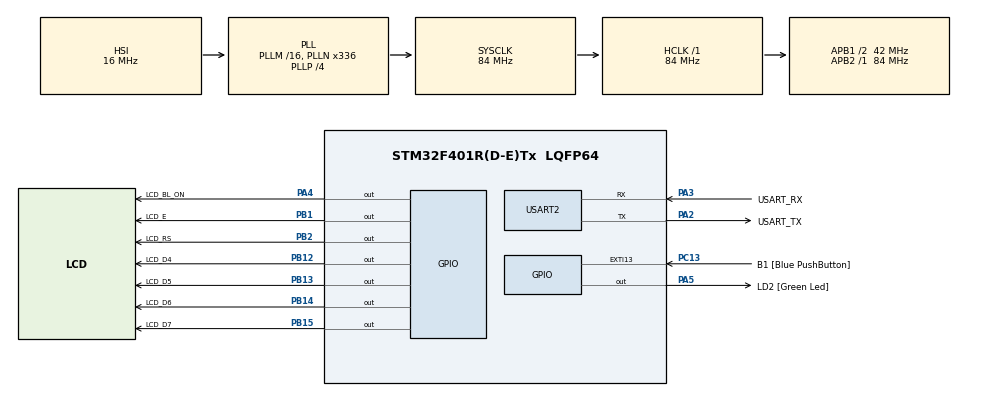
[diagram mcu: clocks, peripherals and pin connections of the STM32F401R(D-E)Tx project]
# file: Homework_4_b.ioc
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Mcu.Family=STM32F4
Mcu.Name=STM32F401R(D-E)Tx
Mcu.Package=LQFP64
NVIC.PriorityGroup=NVIC_PRIORITYGROUP_0
PA13.GPIO_Label=TMS
PA13.Mode=Serial_Wire
PA13.Signal=SYS_JTMS-SWDIO
PA14.GPIO_Label=TCK
PA14.Mode=Serial_Wire
PA14.Signal=SYS_JTCK-SWCLK
PA2.GPIO_Label=USART_TX
PA2.GPIO_Mode=GPIO_MODE_AF_PP
PA2.GPIO_PuPd=GPIO_NOPULL
PA2.GPIO_Speed=GPIO_SPEED_FREQ_LOW
PA2.Mode=Asynchronous
PA2.Signal=USART2_TX
PA3.GPIO_Label=USART_RX
PA3.GPIO_Mode=GPIO_MODE_AF_PP
PA3.GPIO_PuPd=GPIO_NOPULL
PA3.GPIO_Speed=GPIO_SPEED_FREQ_LOW
PA3.Mode=Asynchronous
PA3.Signal=USART2_RX
PA4.GPIO_Label=LCD_BL_ON
PA4.Signal=GPIO_Output
PA5.GPIO_Label=LD2 [Green Led]
PA5.GPIO_Mode=GPIO_MODE_OUTPUT_PP
PA5.GPIO_PuPd=GPIO_NOPULL
PA5.GPIO_Speed=GPIO_SPEED_FREQ_LOW
PA5.Signal=GPIO_Output
PB1.GPIO_Label=LCD_E
PB1.Signal=GPIO_Output
PB12.GPIO_Label=LCD_D4
PB12.Signal=GPIO_Output
PB13.GPIO_Label=LCD_D5
PB13.Signal=GPIO_Output
PB14.GPIO_Label=LCD_D6
PB14.Signal=GPIO_Output
PB15.GPIO_Label=LCD_D7
PB15.Signal=GPIO_Output
PB2.GPIO_Label=LCD_RS
PB2.Signal=GPIO_Output
PB3.GPIO_Label=SWO
PB3.Signal=SYS_JTDO-SWO
PC13-ANTI_TAMP.GPIO_Label=B1 [Blue PushButton]
PC13-ANTI_TAMP.GPIO_ModeDefaultEXTI=GPIO_MODE_IT_FALLING
PC13-ANTI_TAMP.GPIO_PuPd=GPIO_NOPULL
PC13-ANTI_TAMP.Signal=GPXTI13
PC14-OSC32_IN.Mode=LSE-External-Oscillator
PC14-OSC32_IN.Signal=RCC_OSC32_IN
PC15-OSC32_OUT.Mode=LSE-External-Oscillator
PC15-OSC32_OUT.Signal=RCC_OSC32_OUT
PH0\ -\ OSC_IN.Mode=HSE-External-Clock-Source
PH0\ -\ OSC_IN.Signal=RCC_OSC_IN
PH1\ -\ OSC_OUT.Mode=HSE-External-Clock-Source
PH1\ -\ OSC_OUT.Signal=RCC_OSC_OUT
ProjectManager.HeapSize=0x200
ProjectManager.StackSize=0x400
ProjectManager.TargetToolchain=STM32CubeIDE
RCC.48MHZClocksFreq_Value=48000000
RCC.AHBFreq_Value=84000000
RCC.APB1CLKDivider=RCC_HCLK_DIV2
RCC.APB1Freq_Value=42000000
RCC.APB1TimFreq_Value=84000000
RCC.APB2Freq_Value=84000000
RCC.APB2TimFreq_Value=84000000
RCC.CortexFreq_Value=84000000
RCC.HCLKFreq_Value=84000000
RCC.HSE_VALUE=8000000
RCC.HSI_VALUE=16000000
RCC.PLLN=336
RCC.PLLP=RCC_PLLP_DIV4
RCC.PLLQ=7
RCC.SYSCLKFreq_VALUE=84000000
RCC.SYSCLKSource=RCC_SYSCLKSOURCE_PLLCLK
RCC.VCOOutputFreq_Value=336000000
USART2.VirtualMode=VM_ASYNC
board=NUCLEO-F401RE

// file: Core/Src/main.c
/* USER CODE BEGIN Header */
/**
  ******************************************************************************
  * @file           : main.c
  * @brief          : Main program body
  ******************************************************************************
  * @attention
  *
  * Copyright (c) 2024 STMicroelectronics.
  * All rights reserved.
  *
  * This software is licensed under terms that can be found in the LICENSE file
  * in the root directory of this software component.
  * If no LICENSE file comes with this software, it is provided AS-IS.
  *
  ******************************************************************************
  */
/* USER CODE END Header */
#include "main.h"

/* USER CODE BEGIN Includes */
#include "PMDB16_LCD.h"
/* USER CODE END Includes */

/* USER CODE BEGIN PD */
#define MAX_LENGTH 	15
#define MAX_MEMBERS 5
#define TOP_ROW 	0
#define BOTTOM_ROW 	1
/* USER CODE END PD */

UART_HandleTypeDef huart2;

void SystemClock_Config(void);
static void MX_GPIO_Init(void);
static void MX_USART2_UART_Init(void);

int main(void)
{

  /* MCU Configuration--------------------------------------------------------*/

  /* Reset of all peripherals, Initializes the Flash interface and the Systick. */
  HAL_Init();

  /* Configure the system clock */
  SystemClock_Config();

  /* Initialize all configured peripherals */
  MX_GPIO_Init();
  MX_USART2_UART_Init();
  /* USER CODE BEGIN 2 */

  char string[MAX_MEMBERS][MAX_LENGTH] = {
		  "A.Paliferro",
		  "C.Coppers",
		  "H.Leveelahti",
		  "N.Cazin",
		  "O.Kieksi"
  };

  lcd_initialize(); // Initialize the LCD controller
  lcd_backlight_ON(); // Turn ON the LCD backlight

  int first_apparition = 0; // Blocking flag only for the first writing
  /* USER CODE END 2 */

  /* Infinite loop */
  /* USER CODE BEGIN WHILE */
  while (1)
  {
	  for(int i = 0; i < MAX_MEMBERS; i++)			// For every members of the group
	  {
		  lcd_println(string[i], BOTTOM_ROW);		// Always print the members ont he bottum row
		  if (i != 0 || i != MAX_MEMBERS - 1)		// If not the first members and not the last members
		  {
			  lcd_println(string[i-1], TOP_ROW);	// Print the members on top ROW
		  }
		  if (i == 0 && first_apparition == 1)		// For when the first and the last members appears
		  {
			  lcd_println(string[MAX_MEMBERS - 1], TOP_ROW);
		  }
		  first_apparition = 1;						// Flag raised only at the first writting on the LCD
		  HAL_Delay(1000);							// 1s
	  }
    /* USER CODE END WHILE */

  }
}

void SystemClock_Config(void)
{
  RCC_OscInitTypeDef RCC_OscInitStruct = {0};
  RCC_ClkInitTypeDef RCC_ClkInitStruct = {0};

  /** Configure the main internal regulator output voltage
  */
  __HAL_RCC_PWR_CLK_ENABLE();
  __HAL_PWR_VOLTAGESCALING_CONFIG(PWR_REGULATOR_VOLTAGE_SCALE2);

  /** Initializes the RCC Oscillators according to the specified parameters
  * in the RCC_OscInitTypeDef structure.
  */
  RCC_OscInitStruct.OscillatorType = RCC_OSCILLATORTYPE_HSI;
  RCC_OscInitStruct.HSIState = RCC_HSI_ON;
  RCC_OscInitStruct.HSICalibrationValue = RCC_HSICALIBRATION_DEFAULT;
  RCC_OscInitStruct.PLL.PLLState = RCC_PLL_ON;
  RCC_OscInitStruct.PLL.PLLSource = RCC_PLLSOURCE_HSI;
  RCC_OscInitStruct.PLL.PLLM = 16;
  RCC_OscInitStruct.PLL.PLLN = 336;
  RCC_OscInitStruct.PLL.PLLP = RCC_PLLP_DIV4;
  RCC_OscInitStruct.PLL.PLLQ = 7;
  if (HAL_RCC_OscConfig(&RCC_OscInitStruct) != HAL_OK)
  {
    Error_Handler();
  }

  /** Initializes the CPU, AHB and APB buses clocks
  */
  RCC_ClkInitStruct.ClockType = RCC_CLOCKTYPE_HCLK|RCC_CLOCKTYPE_SYSCLK
                              |RCC_CLOCKTYPE_PCLK1|RCC_CLOCKTYPE_PCLK2;
  RCC_ClkInitStruct.SYSCLKSource = RCC_SYSCLKSOURCE_PLLCLK;
  RCC_ClkInitStruct.AHBCLKDivider = RCC_SYSCLK_DIV1;
  RCC_ClkInitStruct.APB1CLKDivider = RCC_HCLK_DIV2;
  RCC_ClkInitStruct.APB2CLKDivider = RCC_HCLK_DIV1;

  if (HAL_RCC_ClockConfig(&RCC_ClkInitStruct, FLASH_LATENCY_2) != HAL_OK)
  {
    Error_Handler();
  }
}

static void MX_USART2_UART_Init(void)
{

  huart2.Instance = USART2;
  huart2.Init.BaudRate = 115200;
  huart2.Init.WordLength = UART_WORDLENGTH_8B;
  huart2.Init.StopBits = UART_STOPBITS_1;
  huart2.Init.Parity = UART_PARITY_NONE;
  huart2.Init.Mode = UART_MODE_TX_RX;
  huart2.Init.HwFlowCtl = UART_HWCONTROL_NONE;
  huart2.Init.OverSampling = UART_OVERSAMPLING_16;
  if (HAL_UART_Init(&huart2) != HAL_OK)
  {
    Error_Handler();
  }

}

static void MX_GPIO_Init(void)
{
  GPIO_InitTypeDef GPIO_InitStruct = {0};

  /* GPIO Ports Clock Enable */
  __HAL_RCC_GPIOC_CLK_ENABLE();
  __HAL_RCC_GPIOH_CLK_ENABLE();
  __HAL_RCC_GPIOA_CLK_ENABLE();
  __HAL_RCC_GPIOB_CLK_ENABLE();

  /*Configure GPIO pin Output Level */
  HAL_GPIO_WritePin(GPIOA, LCD_BL_ON_Pin|LD2_Pin, GPIO_PIN_RESET);

  /*Configure GPIO pin Output Level */
  HAL_GPIO_WritePin(GPIOB, LCD_E_Pin|LCD_RS_Pin|LCD_D4_Pin|LCD_D5_Pin
                          |LCD_D6_Pin|LCD_D7_Pin, GPIO_PIN_RESET);

  /*Configure GPIO pin : B1_Pin */
  GPIO_InitStruct.Pin = B1_Pin;
  GPIO_InitStruct.Mode = GPIO_MODE_IT_FALLING;
  GPIO_InitStruct.Pull = GPIO_NOPULL;
  HAL_GPIO_Init(B1_GPIO_Port, &GPIO_InitStruct);

  /*Configure GPIO pins : LCD_BL_ON_Pin LD2_Pin */
  GPIO_InitStruct.Pin = LCD_BL_ON_Pin|LD2_Pin;
  GPIO_InitStruct.Mode = GPIO_MODE_OUTPUT_PP;
  GPIO_InitStruct.Pull = GPIO_NOPULL;
  GPIO_InitStruct.Speed = GPIO_SPEED_FREQ_LOW;
  HAL_GPIO_Init(GPIOA, &GPIO_InitStruct);

  /*Configure GPIO pins : LCD_E_Pin LCD_RS_Pin LCD_D4_Pin LCD_D5_Pin
                           LCD_D6_Pin LCD_D7_Pin */
  GPIO_InitStruct.Pin = LCD_E_Pin|LCD_RS_Pin|LCD_D4_Pin|LCD_D5_Pin
                          |LCD_D6_Pin|LCD_D7_Pin;
  GPIO_InitStruct.Mode = GPIO_MODE_OUTPUT_PP;
  GPIO_InitStruct.Pull = GPIO_NOPULL;
  GPIO_InitStruct.Speed = GPIO_SPEED_FREQ_LOW;
  HAL_GPIO_Init(GPIOB, &GPIO_InitStruct);

}

void Error_Handler(void)
{
  __disable_irq();
  while (1)
  {
  }
}
